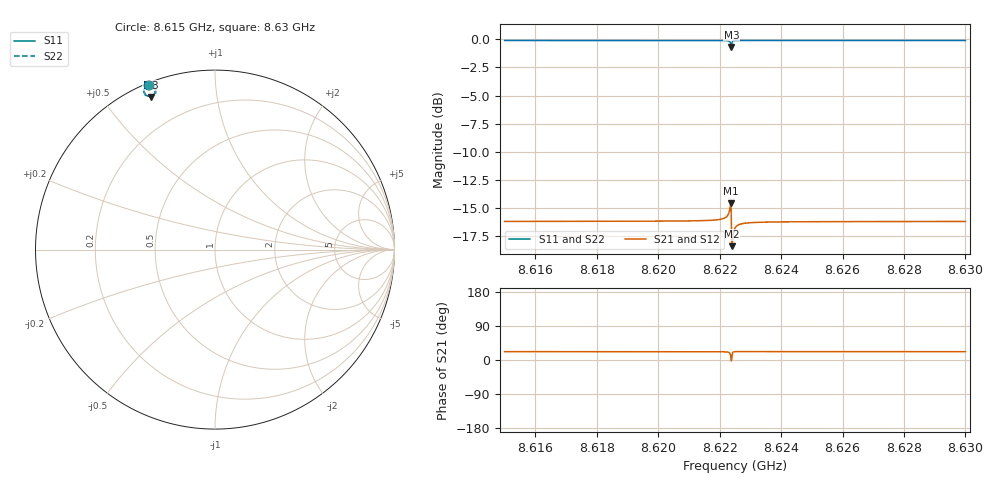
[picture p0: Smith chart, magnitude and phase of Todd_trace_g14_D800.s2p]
! Sonnet Data File
! From: emgraph Version : 16.52
! From Project: 171114transmon_trace_brg
! Data is De-embedded
! Data File Written: 11/14/2017 17:50:13
!< HDATE 11/14/2017 14:11:39
!< MDATE 11/14/2017 14:11:39
!< PARAMS
!< Lj = 15.24
!< Gap = 14.0
!< Width = 10.0
!< Airgap = 6.0
!< Pwidth = 2000.0
!< Dist = 800.0
!< END PARAMS
# GHZ S MA R 34.87000
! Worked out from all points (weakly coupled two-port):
!   3597 points, 8.615 GHz to 8.63 GHz, reference 34.87 ohm
!   highest |S21| = -14.59 dB at 8.62236 GHz (marker M1); lowest = -18.4 dB at 8.6224 GHz (marker M2)
!   lowest |S11| = -0.7 dB at 8.62238 GHz (marker M3), VSWR 25.18, Z = 1.99 + j23.1 ohm
!   |S11| at or under -10 dB: nowhere
!   |S22| runs from -0.7 to -0.1 dB; largest |S21 - S12| = 3.4e-13
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8.615  0.9879 112.2  0.1551 22.1  0.1551 22.1  0.9879 112.0
!< P1 F=8.615 Eeff=(5.13377404 -5.6313e-5) Z0=(34.6595714 -9.1612e-5) R=0.0 C=0.0
!< P2 F=8.615 Eeff=(5.13377404 -5.6313e-5) Z0=(34.6595714 -9.1612e-5) R=0.0 C=0.0
8.6175  0.9879 112.1  0.1552 22.0  0.1552 22.0  0.9879 112.0
8.62  0.9878 112.1  0.1555 22.0  0.1555 22.0  0.9878 111.9
8.62193  0.9874 112.0  0.1578 21.8  0.1578 21.8  0.9874 111.8
8.622175  0.9864 111.8  0.1609 21.5  0.1609 21.5  0.9864 111.6
8.622235  0.9855 111.6  0.1633 21.2  0.1633 21.2  0.9855 111.5
8.62229  0.9832 111.4  0.1678 20.4  0.1678 20.4  0.9831 111.2
8.62232  0.9792 111.1  0.1731 19.1  0.1731 19.1  0.9791 110.9
8.62236  0.952 110.5  0.1864 10.7  0.1864 10.7  0.9514 110.2
8.62238  0.9236 112.9  0.1573 -2.4  0.1573 -2.4  0.9223 112.7
8.6224  0.964 114.3  0.1204 10.1  0.1204 10.1  0.9635 114.2
8.622445  0.9858 113.2  0.1369 21.1  0.1369 21.1  0.9858 113.0
8.62247  0.9874 112.9  0.1416 21.8  0.1416 21.8  0.9873 112.7
8.622485  0.9877 112.8  0.1434 21.9  0.1434 21.9  0.9877 112.6
8.622489  0.9878 112.8  0.1438 22.0  0.1438 22.0  0.9878 112.6
8.6225  0.988 112.7  0.1448 22.0  0.1448 22.0  0.9879 112.5
8.622515  0.9881 112.6  0.146 22.1  0.146 22.1  0.9881 112.5
8.622655  0.9883 112.4  0.1506 22.2  0.1506 22.2  0.9883 112.2
8.622945  0.9882 112.2  0.1529 22.1  0.1529 22.1  0.9882 112.1
8.625  0.988 112.1  0.1546 22.0  0.1546 22.0  0.988 111.9
8.6275  0.9879 112.1  0.1549 22.0  0.1549 22.0  0.9879 111.9
8.63  0.9879 112.1  0.155 22.0  0.155 22.0  0.9879 111.9
